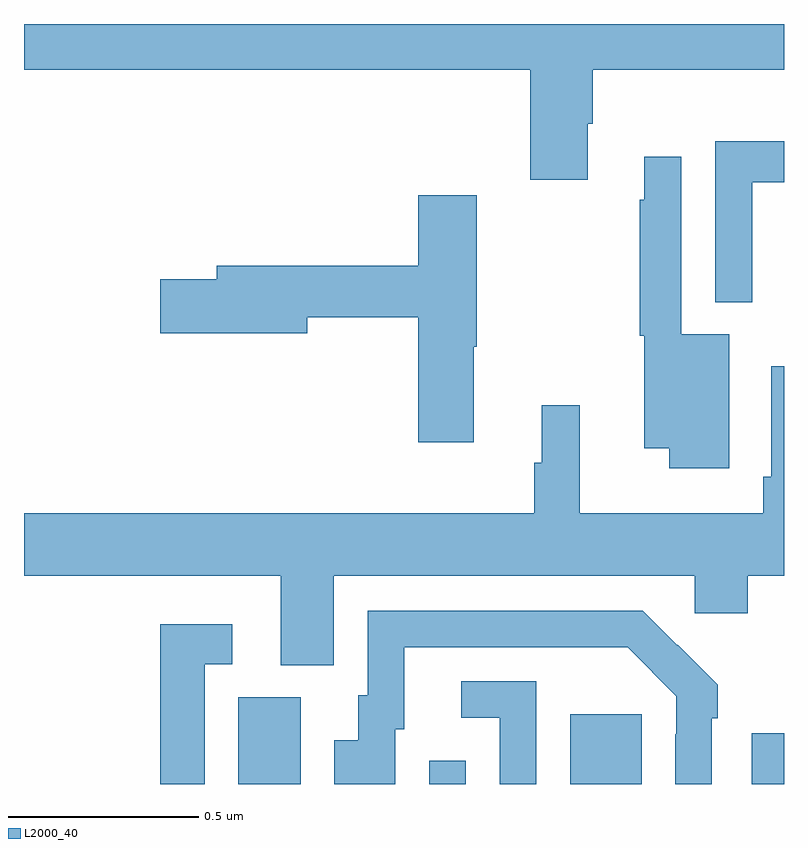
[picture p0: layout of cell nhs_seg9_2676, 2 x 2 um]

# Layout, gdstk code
import gdstk
lib = gdstk.Library(unit=1e-6, precision=1e-09)
def R(c, l, rs):  # rectangles x0, y0, x1, y1
    for r in rs: c.add(gdstk.rectangle(r[:2], r[2:], *l))
def P(c, l, *ps):  # polygons
    for p in ps: c.add(gdstk.Polygon(p, *l))
L2000_40 = (2000, 40)

nhs_seg9_2676 = lib.new_cell('nhs_seg9_2676')
R(nhs_seg9_2676, L2000_40, [(143.564,1234.5,143.728,1234.728), (144.066,1234.5,144.162,1234.561), (144.437,1234.5,144.625,1234.684), (144.915,1234.5,145,1234.633)])
P(nhs_seg9_2676, L2000_40, [(144.484,1236.238),(144.497,1236.238),(144.497,1236.38),(145,1236.38),(145,1236.5),(143,1236.5),(143,1236.38),(144.332,1236.38),(144.332,1236.09),(144.484,1236.09)],
  [(144.916,1236.084),(145,1236.084),(145,1236.192),(144.819,1236.192),(144.819,1235.768),(144.916,1235.768)],
  [(144.856,1235.683),(144.729,1235.683),(144.729,1236.151),(144.632,1236.151),(144.632,1236.038),(144.621,1236.038),(144.621,1235.679),(144.632,1235.679),(144.632,1235.384),(144.698,1235.384),(144.698,1235.331),(144.856,1235.331)],
  [(144.184,1235.651),(144.192,1235.651),(144.192,1236.049),(144.038,1236.049),(144.038,1235.864),(143.507,1235.864),(143.507,1235.828),(143.358,1235.828),(143.358,1235.686),(143.746,1235.686),(143.746,1235.728),(144.038,1235.728),(144.038,1235.4),(144.184,1235.4)],
  [(143.815,1235.048),(144.765,1235.048),(144.765,1234.95),(144.904,1234.95),(144.904,1235.048),(145,1235.048),(145,1235.599),(144.966,1235.599),(144.966,1235.308),(144.946,1235.308),(144.946,1235.212),(144.462,1235.212),(144.462,1235.497),(144.362,1235.497),(144.362,1235.346),(144.343,1235.346),(144.343,1235.212),(143,1235.212),(143,1235.048),(143.675,1235.048),(143.675,1234.813),(143.815,1234.813)],
  [(143.977,1234.644),(144.001,1234.644),(144.001,1234.86),(144.589,1234.86),(144.717,1234.731),(144.717,1234.631),(144.714,1234.631),(144.714,1234.5),(144.81,1234.5),(144.81,1234.673),(144.825,1234.673),(144.825,1234.761),(144.72,1234.866),(144.719,1234.865),(144.628,1234.956),(143.904,1234.956),(143.904,1234.734),(143.879,1234.734),(143.879,1234.615),(143.816,1234.615),(143.816,1234.5),(143.977,1234.5)],
  [(143.475,1234.815),(143.548,1234.815),(143.548,1234.921),(143.359,1234.921),(143.359,1234.5),(143.475,1234.5)],
  [(144.348,1234.77),(144.15,1234.77),(144.15,1234.674),(144.252,1234.674),(144.252,1234.5),(144.348,1234.5)])

lib.write_gds('nhs_seg9_2676.gds')
